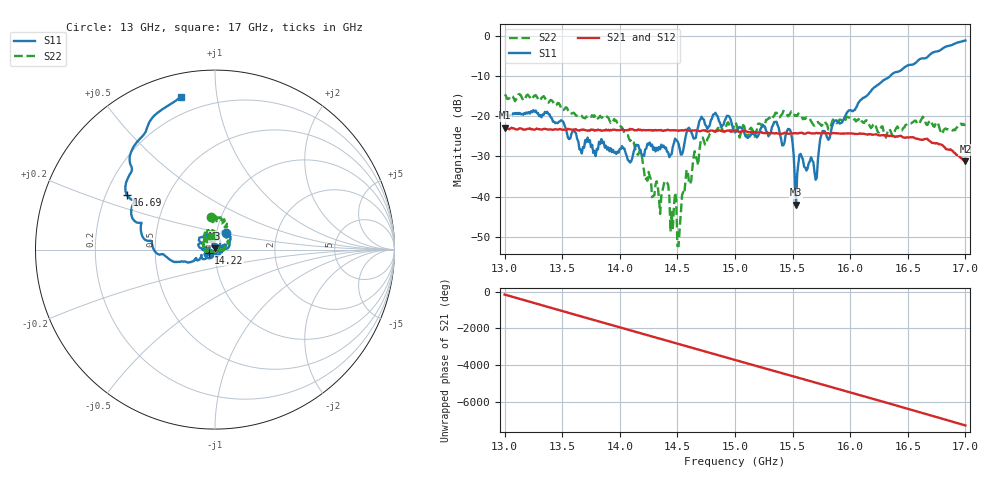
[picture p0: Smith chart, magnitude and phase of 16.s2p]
!Keysight Technologies,P9374A,MY57211807,A.19.30.04
!Date: Friday, May 01, 2026 14:44:15
!Correction: S11(C  2-Port  )
!S21(C  2-Port  )
!S12(C  2-Port  )
!S22(C  2-Port  )
!S2P File: Measurements: S11, S21, S12, S22:
# Hz S  RI  R 50
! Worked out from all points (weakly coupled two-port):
!   401 points, 13 GHz to 17 GHz, reference 50 ohm
!   highest |S21| = -22.88 dB at 13 GHz (marker M1); lowest = -31.2 dB at 17 GHz (marker M2)
!   lowest |S11| = -42.0 dB at 15.53 GHz (marker M3), VSWR 1.02, Z = 50 + j0.791 ohm
!   |S11| at or under -10 dB: start of sweep to 16.35 GHz
!   |S22| runs from -52.3 to -14.5 dB; largest |S21 - S12| = 0.0016
!   S11 on the Smith chart (normalised r, x): 13 GHz: 1.11, +0.21; 14.22 GHz: 0.93, -0.03; 16.69 GHz: 0.29, +0.26; 17 GHz: 0.11, +0.80
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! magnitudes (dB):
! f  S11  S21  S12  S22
! 13 GHz  -19.1  -22.9  -22.9  -14.6
! 13.37 GHz  -18.9  -23.3  -23.3  -16.5
! 13.67 GHz  -29.3  -23.4  -23.4  -19.9
! 13.97 GHz  -29.4  -23.5  -23.5  -21.1
! 14.18 GHz  -28.6  -23.4  -23.3  -28.4
! 14.22 GHz  -28.3  -23.5  -23.5  -35.9
! 14.34 GHz  -27.7  -23.5  -23.5  -40.5
! 14.4 GHz  -27.8  -23.6  -23.6  -36.5
! 14.45 GHz  -29.5  -23.5  -23.5  -43.8
! 14.52 GHz  -28.1  -23.5  -23.5  -47.7
! 14.57 GHz  -25.3  -23.4  -23.4  -36.1
! 14.71 GHz  -20.1  -23.6  -23.6  -25.5
! 15 GHz  -24.1  -23.6  -23.6  -21.6
! 15.47 GHz  -23.2  -24.4  -24.4  -19.9
! 15.53 GHz  -42.0  -24.3  -24.2  -19.8
! 15.57 GHz  -29.4  -24.2  -24.2  -19.8
! 15.67 GHz  -31.0  -24.3  -24.3  -21.7
! 15.71 GHz  -35.3  -24.2  -24.1  -21.7
! 15.76 GHz  -23.7  -24.1  -24.2  -22.1
! 16.34 GHz  -10.2  -25.0  -24.9  -23.2
! 16.69 GHz  -4.8  -26.2  -26.2  -21.3
! 17 GHz  -1.2  -31.2  -31.2  -22.2
